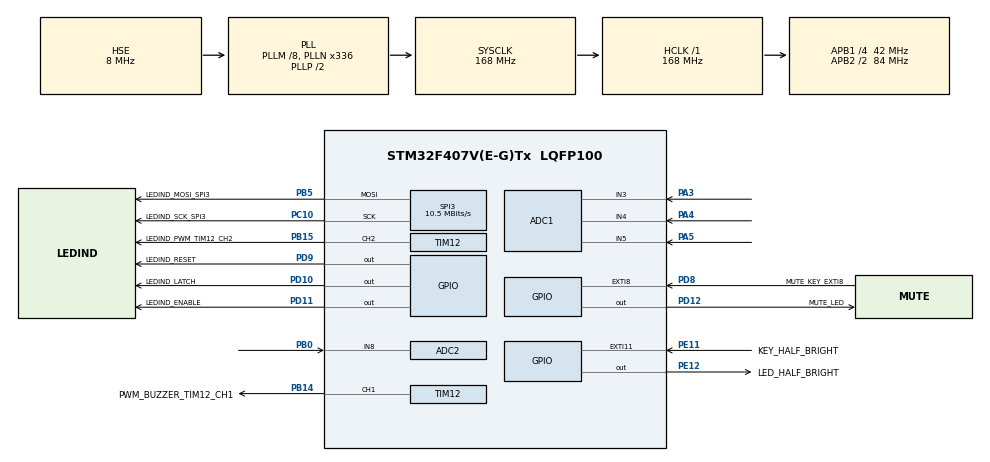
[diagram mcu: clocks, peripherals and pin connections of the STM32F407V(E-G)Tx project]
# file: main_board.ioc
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ADC1.Channel-0\#ChannelRegularConversion=ADC_CHANNEL_3
ADC1.Channel-1\#ChannelRegularConversion=ADC_CHANNEL_4
ADC1.Channel-2\#ChannelRegularConversion=ADC_CHANNEL_5
ADC1.ClockPrescaler=ADC_CLOCKPRESCALER_PCLK_DIV8
ADC1.ContinuousConvMode=ENABLE
ADC1.DMAContinuousRequests=ENABLE
ADC1.DiscontinuousConvMode=DISABLE
ADC1.NbrOfConversion=3
ADC1.NbrOfConversionFlag=1
ADC1.Rank-0\#ChannelRegularConversion=1
ADC1.Rank-1\#ChannelRegularConversion=2
ADC1.Rank-2\#ChannelRegularConversion=3
ADC1.SamplingTime-0\#ChannelRegularConversion=ADC_SAMPLETIME_56CYCLES
ADC1.SamplingTime-1\#ChannelRegularConversion=ADC_SAMPLETIME_56CYCLES
ADC1.SamplingTime-2\#ChannelRegularConversion=ADC_SAMPLETIME_56CYCLES
ADC1.ScanConvMode=ENABLE
ADC1.master=1
ADC2.Channel-0\#ChannelRegularConversion=ADC_CHANNEL_8
ADC2.ClockPrescaler=ADC_CLOCKPRESCALER_PCLK_DIV8
ADC2.ContinuousConvMode=ENABLE
ADC2.ExternalTrigConvEdge=ADC_EXTERNALTRIGCONVEDGE_NONE
ADC2.NbrOfConversion=1
ADC2.NbrOfConversionFlag=1
ADC2.ScanConvMode=ENABLE
Dma.ADC1.0.Channel=DMA_CHANNEL_0
Dma.ADC1.0.Direction=DMA_PERIPH_TO_MEMORY
Dma.ADC1.0.FIFOMode=DMA_FIFOMODE_DISABLE
Dma.ADC1.0.FIFOThreshold=DMA_FIFO_THRESHOLD_FULL
Dma.ADC1.0.Instance=DMA2_Stream0
Dma.ADC1.0.MemBurst=DMA_MBURST_SINGLE
Dma.ADC1.0.MemDataAlignment=DMA_MDATAALIGN_BYTE
Dma.ADC1.0.MemInc=DMA_MINC_DISABLE
Dma.ADC1.0.Mode=DMA_NORMAL
Dma.ADC1.0.PeriphBurst=DMA_PBURST_SINGLE
Dma.ADC1.0.PeriphDataAlignment=DMA_PDATAALIGN_BYTE
Dma.ADC1.0.PeriphInc=DMA_PINC_DISABLE
Dma.ADC1.0.Priority=DMA_PRIORITY_HIGH
Dma.Request0=ADC1
Mcu.Family=STM32F4
Mcu.Name=STM32F407V(E-G)Tx
Mcu.Package=LQFP100
NVIC.ADC_IRQn=true\:0\:0\:false
NVIC.DMA2_Stream0_IRQn=true\:0\:0\:false
NVIC.EXTI15_10_IRQn=true\:0\:0\:false
NVIC.EXTI9_5_IRQn=true\:0\:0\:false
NVIC.PriorityGroup=NVIC_PRIORITYGROUP_4
NVIC.TIM6_DAC_IRQn=true\:0\:0\:false
NVIC.TIM7_IRQn=true\:0\:0\:false
NVIC.TIM8_BRK_TIM12_IRQn=true\:0\:0\:false
NVIC.TIM8_UP_TIM13_IRQn=true\:0\:0\:false
PA13.Mode=Serial-Wire
PA13.Signal=SYS_JTMS-SWDIO
PA14.Mode=Serial-Wire
PA14.Signal=SYS_JTCK-SWCLK
PA3.Signal=ADCx_IN3
PA4.Signal=ADCx_IN4
PA5.Signal=ADCx_IN5
PB0.Signal=ADCx_IN8
PB14.GPIO_Label=PWM_BUZZER_TIM12_CH1
PB14.GPIO_ModeDefaultPP=GPIO_MODE_AF_PP
PB14.GPIO_PuPd=GPIO_NOPULL
PB14.GPIO_Speed=GPIO_SPEED_LOW
PB14.Signal=S_TIM12_CH1
PB15.GPIO_Label=LEDIND_PWM_TIM12_CH2
PB15.GPIO_ModeDefaultPP=GPIO_MODE_AF_PP
PB15.GPIO_PuPd=GPIO_NOPULL
PB15.GPIO_Speed=GPIO_SPEED_LOW
PB15.Signal=S_TIM12_CH2
PB5.GPIO_Label=LEDIND_MOSI_SPI3
PB5.GPIO_Mode=GPIO_MODE_AF_PP
PB5.GPIO_PuPd=GPIO_NOPULL
PB5.GPIO_Speed=GPIO_SPEED_HIGH
PB5.Mode=TX_Only_Simplex_Unidirect_Master
PB5.Signal=SPI3_MOSI
PC10.GPIO_Label=LEDIND_SCK_SPI3
PC10.GPIO_Mode=GPIO_MODE_AF_PP
PC10.GPIO_PuPd=GPIO_NOPULL
PC10.GPIO_Speed=GPIO_SPEED_HIGH
PC10.Mode=TX_Only_Simplex_Unidirect_Master
PC10.Signal=SPI3_SCK
PD10.GPIO_Label=LEDIND_LATCH
PD10.GPIO_ModeDefaultOutputPP=GPIO_MODE_OUTPUT_PP
PD10.GPIO_PuPd=GPIO_NOPULL
PD10.GPIO_Speed=GPIO_SPEED_LOW
PD10.Signal=GPIO_Output
PD11.GPIO_Label=LEDIND_ENABLE
PD11.GPIO_ModeDefaultOutputPP=GPIO_MODE_OUTPUT_PP
PD11.GPIO_PuPd=GPIO_NOPULL
PD11.GPIO_Speed=GPIO_SPEED_LOW
PD11.Signal=GPIO_Output
PD12.GPIO_Label=MUTE_LED
PD12.GPIO_ModeDefaultOutputPP=GPIO_MODE_OUTPUT_PP
PD12.GPIO_PuPd=GPIO_NOPULL
PD12.GPIO_Speed=GPIO_SPEED_LOW
PD12.Signal=GPIO_Output
PD8.GPIO_Label=MUTE_KEY_EXTI8
PD8.GPIO_ModeDefaultEXTI=GPIO_MODE_IT_RISING
PD8.GPIO_PuPd=GPIO_NOPULL
PD8.Signal=GPXTI8
PD9.GPIO_Label=LEDIND_RESET
PD9.GPIO_ModeDefaultOutputPP=GPIO_MODE_OUTPUT_PP
PD9.GPIO_PuPd=GPIO_NOPULL
PD9.GPIO_Speed=GPIO_SPEED_LOW
PD9.Signal=GPIO_Output
PE11.GPIO_Label=KEY_HALF_BRIGHT
PE11.GPIO_ModeDefaultEXTI=GPIO_MODE_IT_RISING
PE11.GPIO_PuPd=GPIO_NOPULL
PE11.Signal=GPXTI11
PE12.GPIO_Label=LED_HALF_BRIGHT
PE12.GPIO_ModeDefaultOutputPP=GPIO_MODE_OUTPUT_PP
PE12.GPIO_PuPd=GPIO_NOPULL
PE12.GPIO_Speed=GPIO_SPEED_LOW
PE12.Signal=GPIO_Output
PH0-OSC_IN.Mode=HSE-External-Oscillator
PH0-OSC_IN.Signal=RCC_OSC_IN
PH1-OSC_OUT.Mode=HSE-External-Oscillator
PH1-OSC_OUT.Signal=RCC_OSC_OUT
ProjectManager.TargetToolchain=EWARM
RCC.48MHZClocksFreq_Value=48000000
RCC.AHBFreq_Value=168000000
RCC.APB1CLKDivider=RCC_HCLK_DIV4
RCC.APB1Freq_Value=42000000
RCC.APB1TimFreq_Value=84000000
RCC.APB2CLKDivider=RCC_HCLK_DIV2
RCC.APB2Freq_Value=84000000
RCC.APB2TimFreq_Value=168000000
RCC.CortexFreq_Value=168000000
RCC.HCLKFreq_Value=168000000
RCC.HSE_VALUE=8000000
RCC.HSI_VALUE=16000000
RCC.LSE_VALUE=32768
RCC.PLLM=8
RCC.PLLN=336
RCC.PLLQ=7
RCC.PLLSourceVirtual=RCC_PLLSOURCE_HSE
RCC.PWR_Regulator_Voltage_Scale=PWR_REGULATOR_VOLTAGE_SCALE1
RCC.SYSCLKFreq_VALUE=168000000
RCC.SYSCLKSource=RCC_SYSCLKSOURCE_PLLCLK
RCC.VCOOutputFreq_Value=336000000
SH.ADCx_IN3.0=ADC1_IN3,IN3
SH.ADCx_IN4.0=ADC1_IN4,IN4
SH.ADCx_IN5.0=ADC1_IN5,IN5
SH.ADCx_IN8.0=ADC2_IN8,IN8
SH.S_TIM12_CH1.0=TIM12_CH1,PWM Generation1 CH1
SH.S_TIM12_CH2.0=TIM12_CH2,PWM Generation2 CH2
SPI3.BaudRatePrescaler=SPI_BAUDRATEPRESCALER_4
SPI3.CalculateBaudRate=10.5 MBits/s
SPI3.FirstBit=SPI_FIRSTBIT_LSB
SPI3.Mode=SPI_MODE_MASTER
TIM12.Channel-PWM\ Generation2\ CH2=TIM_CHANNEL_2
TIM12.ClockDivision=TIM_CLOCKDIVISION_DIV1
TIM12.Period=65535
TIM12.Prescaler=1
TIM12.Pulse-PWM\ Generation1\ CH1=30758
TIM13.Period=50000
TIM13.Prescaler=70
TIM6.Period=52500
TIM6.Prescaler=1
TIM7.Period=65115
TIM7.Prescaler=2600
VP_TIM13_VS_ClockSourceINT.Mode=Enable_Timer
VP_TIM6_VS_ClockSourceINT.Mode=Enable_Timer
VP_TIM7_VS_ClockSourceINT.Mode=Enable_Timer
board=main_board

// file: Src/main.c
/**
  ******************************************************************************
  * File Name          : main.c
  * Description        : Main program body
  ******************************************************************************
  *
  * COPYRIGHT(c) 2015 STMicroelectronics
  *
  * Redistribution and use in source and binary forms, with or without modification,
  * are permitted provided that the following conditions are met:
  *   1. Redistributions of source code must retain the above copyright notice,
  *      this list of conditions and the following disclaimer.
  *   2. Redistributions in binary form must reproduce the above copyright notice,
  *      this list of conditions and the following disclaimer in the documentation
  *      and/or other materials provided with the distribution.
  *   3. Neither the name of STMicroelectronics nor the names of its contributors
  *      may be used to endorse or promote products derived from this software
  *      without specific prior written permission.
  *
  * THIS SOFTWARE IS PROVIDED BY THE COPYRIGHT HOLDERS AND CONTRIBUTORS "AS IS"
  * AND ANY EXPRESS OR IMPLIED WARRANTIES, INCLUDING, BUT NOT LIMITED TO, THE
  * IMPLIED WARRANTIES OF MERCHANTABILITY AND FITNESS FOR A PARTICULAR PURPOSE ARE
  * DISCLAIMED. IN NO EVENT SHALL THE COPYRIGHT HOLDER OR CONTRIBUTORS BE LIABLE
  * FOR ANY DIRECT, INDIRECT, INCIDENTAL, SPECIAL, EXEMPLARY, OR CONSEQUENTIAL
  * DAMAGES (INCLUDING, BUT NOT LIMITED TO, PROCUREMENT OF SUBSTITUTE GOODS OR
  * SERVICES; LOSS OF USE, DATA, OR PROFITS; OR BUSINESS INTERRUPTION) HOWEVER
  * CAUSED AND ON ANY THEORY OF LIABILITY, WHETHER IN CONTRACT, STRICT LIABILITY,
  * OR TORT (INCLUDING NEGLIGENCE OR OTHERWISE) ARISING IN ANY WAY OUT OF THE USE
  * OF THIS SOFTWARE, EVEN IF ADVISED OF THE POSSIBILITY OF SUCH DAMAGE.
  *
  ******************************************************************************
  */
#include "stm32f4xx_hal.h"

/* USER CODE BEGIN Includes */
#define ARM_MATH_CM4
#include "math.h"
#define PORT_RESET ((GPIO_TypeDef *) GPIOD)
#define PORT_ENABLE ((GPIO_TypeDef *) GPIOD)
#define PORT_LATCH ((GPIO_TypeDef *) GPIOD)
#define PIN_RESET  ((uint16_t) GPIO_PIN_9)
#define PIN_ENABLE  ((uint16_t) GPIO_PIN_11)
#define PIN_LATCH  ((uint16_t) GPIO_PIN_10)
/* USER CODE END Includes */

ADC_HandleTypeDef hadc1;
ADC_HandleTypeDef hadc2;
DMA_HandleTypeDef hdma_adc1;

SPI_HandleTypeDef hspi3;

TIM_HandleTypeDef htim6;
TIM_HandleTypeDef htim7;
TIM_HandleTypeDef htim12;
TIM_HandleTypeDef htim13;

/* USER CODE BEGIN PV */
/* Private variables ---------------------------------------------------------*/
typedef enum {
  D0 = 0xFC0,
  D1 = 0x600,
  D2 = 0xDA0,
  D3 = 0xF20,
  D4 = 0x660,
  D5 = 0xB60,
  D6 = 0xBE0,
  D7 = 0xE00,
  D8 = 0xFE0,
  D9 = 0xF60,
  D10 = 0xC60,
} DIGITS;
typedef enum {
  K1 = 0x8,
  K2 = 0x4,
  K3 = 0x2,
  K4 = 0x1,
} KATODS;
typedef enum {
  ON,
  OFF
} state_t;
uint8_t sensivity_light = 4;
state_t mute_state = OFF;
state_t buzzer_state = OFF;
uint8_t buzzer_done = 0;
uint8_t timer_buzzer = 0;
uint8_t timer_flag = 0;
uint8_t pData[3];
int tim = 0;
int spi = 0;
uint8_t hour = 0;
uint16_t angle = 0;
uint16_t old_angle = 0;
DIGITS digits [11] = {D0,D1,D2,D3,D4,D5,D6,D7,D8,D9,D10};
KATODS digits_k [4] = {K1,K2,K3,K4};
int flag_zerro = 0;
uint8_t shift = 0;
char reset = 0;
/* USER CODE END PV */

void SystemClock_Config(void);
static void MX_GPIO_Init(void);
static void MX_DMA_Init(void);
static void MX_ADC1_Init(void);
static void MX_ADC2_Init(void);
static void MX_SPI3_Init(void);
static void MX_TIM6_Init(void);
static void MX_TIM7_Init(void);
static void MX_TIM12_Init(void);
static void MX_TIM13_Init(void);

/* USER CODE BEGIN PFP */
/* Private function prototypes -----------------------------------------------*/
void reset_led()
{
  old_angle = 0;
  pData[2] &= 0;
  pData[1] &= 0;
  pData[0] &= 0;
}
int pow_digit(uint8_t base,uint8_t degree)
{
  int pow = 1;
  for (int i = 1; i <= degree; i++)
    pow *= base;
  return pow;
}
void shift_katode()
{
  pData[0] |= digits_k[shift];
  shift ++;
  if (shift > 3)
  {
    angle = old_angle ;
    shift = 0;
    flag_zerro = 0;
  }
}
void send_Data(SPI_HandleTypeDef *hspi)
{
  HAL_GPIO_WritePin(PORT_ENABLE, PIN_ENABLE,GPIO_PIN_SET);
  HAL_SPI_Transmit(hspi, pData, 3, 1);
  HAL_GPIO_WritePin(PORT_LATCH, PIN_LATCH,GPIO_PIN_SET);
  HAL_GPIO_WritePin(PORT_LATCH, PIN_LATCH,GPIO_PIN_RESET);
  HAL_GPIO_WritePin(PORT_ENABLE, PIN_ENABLE,GPIO_PIN_RESET);
 }
void make_digits_reset(uint8_t right, uint8_t left)
{
  pData[1] &= left;
  pData[0] &= right;
}
void make_digits(uint8_t right, uint8_t left)
{
  pData[1] |= left;
  pData[0] |= right;
}
void buzzer (uint8_t hour)
{
  if (buzzer_state == OFF && buzzer_done != 1)
  {
  buzzer_state = ON;
  timer_buzzer = hour;
  HAL_TIM_Base_Start_IT(&htim13);
  }
  else
  {
  __NOP();
  }
}
void hour_to_led (uint8_t hour, state_t mute)
{
  if (mute == OFF)
  {
    buzzer(hour);
  }
  uint8_t base_hour = 0x80; // 10000000 - 1hour
  uint8_t shift = 0;
  if (hour <= 8)
  {
    shift = base_hour >> hour-1;
    pData[2] = pData[2] | shift;
  }
  else if (8 < hour <= 12)
  {
    shift = base_hour >> hour - 9;
    pData[1] = pData[1] | shift;
  }
}

void angle_to_indicator (uint8_t shift)
{

  uint16_t base_digits = 0xF000;
  uint8_t digits_right = base_digits;
  uint8_t digits_left = base_digits >> 8;
  make_digits_reset (digits_right, digits_left);
  if (shift < 3 )
  {
    uint16_t digit_num[3];
    int pow = pow_digit(10,shift);
    digit_num[shift] = angle / (100 / pow);
    if (digit_num[shift] == 0 && shift == 0)
    {
      flag_zerro = 1;
      make_digits (0, 0);
    }
    else if(digit_num[shift] == 0 && flag_zerro == 1)
    {
      make_digits (0, 0);
    }
    else
    {
      flag_zerro = 0;
      angle -= digit_num[shift] * (100 / pow);
      digit_num[shift] = digits[digit_num[shift]];
      digits_right = digit_num[shift];
      digits_left = digit_num[shift] >> 8;
      make_digits (digits_right, digits_left);
    }

  }
  else if (shift == 3 && old_angle != 0)
  {
    digits_right = digits[10];
    digits_left = digits[10] >> 8;
    make_digits (digits_right, digits_left);
  }
}
/* USER CODE END PFP */

int main(void)
{

  /* MCU Configuration----------------------------------------------------------*/

  /* Reset of all peripherals, Initializes the Flash interface and the Systick. */
  HAL_Init();

  /* Configure the system clock */
  SystemClock_Config();

  /* Initialize all configured peripherals */
  MX_GPIO_Init();
  MX_DMA_Init();
  MX_ADC1_Init();
  MX_ADC2_Init();
  MX_SPI3_Init();
  MX_TIM6_Init();
  MX_TIM7_Init();
  MX_TIM12_Init();
  MX_TIM13_Init();

  /* USER CODE BEGIN 2 */
HAL_GPIO_WritePin(PORT_RESET, PIN_RESET,GPIO_PIN_SET);
HAL_GPIO_WritePin(GPIOD, GPIO_PIN_9,GPIO_PIN_SET);
angle = old_angle ;
HAL_TIM_PWM_Start_IT(&htim12,TIM_CHANNEL_2);

HAL_TIM_Base_Start_IT(&htim6);
HAL_TIM_Base_Start_IT(&htim7);

  /* USER CODE END 2 */

  /* Infinite loop */
  while (1)
  {

  /* USER CODE BEGIN 3 */
HAL_ADC_Start_IT(&hadc2);
  }
  /* USER CODE END 3 */

}

/** System Clock Configuration
*/
void SystemClock_Config(void)
{

  RCC_OscInitTypeDef RCC_OscInitStruct;
  RCC_ClkInitTypeDef RCC_ClkInitStruct;

  __PWR_CLK_ENABLE();

  __HAL_PWR_VOLTAGESCALING_CONFIG(PWR_REGULATOR_VOLTAGE_SCALE1);

  RCC_OscInitStruct.OscillatorType = RCC_OSCILLATORTYPE_HSE;
  RCC_OscInitStruct.HSEState = RCC_HSE_ON;
  RCC_OscInitStruct.PLL.PLLState = RCC_PLL_ON;
  RCC_OscInitStruct.PLL.PLLSource = RCC_PLLSOURCE_HSE;
  RCC_OscInitStruct.PLL.PLLM = 8;
  RCC_OscInitStruct.PLL.PLLN = 336;
  RCC_OscInitStruct.PLL.PLLP = RCC_PLLP_DIV2;
  RCC_OscInitStruct.PLL.PLLQ = 7;
  HAL_RCC_OscConfig(&RCC_OscInitStruct);

  RCC_ClkInitStruct.ClockType = RCC_CLOCKTYPE_SYSCLK|RCC_CLOCKTYPE_PCLK1
                              |RCC_CLOCKTYPE_PCLK2;
  RCC_ClkInitStruct.SYSCLKSource = RCC_SYSCLKSOURCE_PLLCLK;
  RCC_ClkInitStruct.AHBCLKDivider = RCC_SYSCLK_DIV1;
  RCC_ClkInitStruct.APB1CLKDivider = RCC_HCLK_DIV4;
  RCC_ClkInitStruct.APB2CLKDivider = RCC_HCLK_DIV2;
  HAL_RCC_ClockConfig(&RCC_ClkInitStruct, FLASH_LATENCY_5);

  HAL_SYSTICK_Config(HAL_RCC_GetHCLKFreq()/1000);

  HAL_SYSTICK_CLKSourceConfig(SYSTICK_CLKSOURCE_HCLK);

}

/* ADC1 init function */
void MX_ADC1_Init(void)
{

  ADC_ChannelConfTypeDef sConfig;

    /**Configure the global features of the ADC (Clock, Resolution, Data Alignment and number of conversion)
    */
  hadc1.Instance = ADC1;
  hadc1.Init.ClockPrescaler = ADC_CLOCKPRESCALER_PCLK_DIV8;
  hadc1.Init.Resolution = ADC_RESOLUTION12b;
  hadc1.Init.ScanConvMode = ENABLE;
  hadc1.Init.ContinuousConvMode = ENABLE;
  hadc1.Init.DiscontinuousConvMode = DISABLE;
  hadc1.Init.ExternalTrigConvEdge = ADC_EXTERNALTRIGCONVEDGE_NONE;
  hadc1.Init.DataAlign = ADC_DATAALIGN_RIGHT;
  hadc1.Init.NbrOfConversion = 3;
  hadc1.Init.DMAContinuousRequests = ENABLE;
  hadc1.Init.EOCSelection = EOC_SINGLE_CONV;
  HAL_ADC_Init(&hadc1);

    /**Configure for the selected ADC regular channel its corresponding rank in the sequencer and its sample time.
    */
  sConfig.Channel = ADC_CHANNEL_3;
  sConfig.Rank = 1;
  sConfig.SamplingTime = ADC_SAMPLETIME_56CYCLES;
  HAL_ADC_ConfigChannel(&hadc1, &sConfig);

    /**Configure for the selected ADC regular channel its corresponding rank in the sequencer and its sample time.
    */
  sConfig.Channel = ADC_CHANNEL_4;
  sConfig.Rank = 2;
  HAL_ADC_ConfigChannel(&hadc1, &sConfig);

    /**Configure for the selected ADC regular channel its corresponding rank in the sequencer and its sample time.
    */
  sConfig.Channel = ADC_CHANNEL_5;
  sConfig.Rank = 3;
  HAL_ADC_ConfigChannel(&hadc1, &sConfig);

}

/* ADC2 init function */
void MX_ADC2_Init(void)
{

  ADC_ChannelConfTypeDef sConfig;

    /**Configure the global features of the ADC (Clock, Resolution, Data Alignment and number of conversion)
    */
  hadc2.Instance = ADC2;
  hadc2.Init.ClockPrescaler = ADC_CLOCKPRESCALER_PCLK_DIV8;
  hadc2.Init.Resolution = ADC_RESOLUTION12b;
  hadc2.Init.ScanConvMode = ENABLE;
  hadc2.Init.ContinuousConvMode = ENABLE;
  hadc2.Init.DiscontinuousConvMode = DISABLE;
  hadc2.Init.ExternalTrigConvEdge = ADC_EXTERNALTRIGCONVEDGE_NONE;
  hadc2.Init.DataAlign = ADC_DATAALIGN_RIGHT;
  hadc2.Init.NbrOfConversion = 1;
  hadc2.Init.DMAContinuousRequests = DISABLE;
  hadc2.Init.EOCSelection = EOC_SINGLE_CONV;
  HAL_ADC_Init(&hadc2);

    /**Configure for the selected ADC regular channel its corresponding rank in the sequencer and its sample time.
    */
  sConfig.Channel = ADC_CHANNEL_8;
  sConfig.Rank = 1;
  sConfig.SamplingTime = ADC_SAMPLETIME_3CYCLES;
  HAL_ADC_ConfigChannel(&hadc2, &sConfig);

}

/* SPI3 init function */
void MX_SPI3_Init(void)
{

  hspi3.Instance = SPI3;
  hspi3.Init.Mode = SPI_MODE_MASTER;
  hspi3.Init.Direction = SPI_DIRECTION_2LINES;
  hspi3.Init.DataSize = SPI_DATASIZE_8BIT;
  hspi3.Init.CLKPolarity = SPI_POLARITY_LOW;
  hspi3.Init.CLKPhase = SPI_PHASE_1EDGE;
  hspi3.Init.NSS = SPI_NSS_SOFT;
  hspi3.Init.BaudRatePrescaler = SPI_BAUDRATEPRESCALER_4;
  hspi3.Init.FirstBit = SPI_FIRSTBIT_LSB;
  hspi3.Init.TIMode = SPI_TIMODE_DISABLED;
  hspi3.Init.CRCCalculation = SPI_CRCCALCULATION_DISABLED;
  hspi3.Init.CRCPolynomial = 10;
  HAL_SPI_Init(&hspi3);

}

/* TIM6 init function */
void MX_TIM6_Init(void)
{

  TIM_MasterConfigTypeDef sMasterConfig;

  htim6.Instance = TIM6;
  htim6.Init.Prescaler = 1;
  htim6.Init.CounterMode = TIM_COUNTERMODE_UP;
  htim6.Init.Period = 52500;
  HAL_TIM_Base_Init(&htim6);

  sMasterConfig.MasterOutputTrigger = TIM_TRGO_RESET;
  sMasterConfig.MasterSlaveMode = TIM_MASTERSLAVEMODE_DISABLE;
  HAL_TIMEx_MasterConfigSynchronization(&htim6, &sMasterConfig);

}

/* TIM7 init function */
void MX_TIM7_Init(void)
{

  TIM_MasterConfigTypeDef sMasterConfig;

  htim7.Instance = TIM7;
  htim7.Init.Prescaler = 2600;
  htim7.Init.CounterMode = TIM_COUNTERMODE_UP;
  htim7.Init.Period = 65115;
  HAL_TIM_Base_Init(&htim7);

  sMasterConfig.MasterOutputTrigger = TIM_TRGO_RESET;
  sMasterConfig.MasterSlaveMode = TIM_MASTERSLAVEMODE_DISABLE;
  HAL_TIMEx_MasterConfigSynchronization(&htim7, &sMasterConfig);

}

/* TIM12 init function */
void MX_TIM12_Init(void)
{

  TIM_OC_InitTypeDef sConfigOC;

  htim12.Instance = TIM12;
  htim12.Init.Prescaler = 1;
  htim12.Init.CounterMode = TIM_COUNTERMODE_UP;
  htim12.Init.Period = 65535;
  htim12.Init.ClockDivision = TIM_CLOCKDIVISION_DIV1;
  HAL_TIM_PWM_Init(&htim12);

  sConfigOC.OCMode = TIM_OCMODE_PWM1;
  sConfigOC.Pulse = 30758;
  sConfigOC.OCPolarity = TIM_OCPOLARITY_HIGH;
  sConfigOC.OCFastMode = TIM_OCFAST_DISABLE;
  HAL_TIM_PWM_ConfigChannel(&htim12, &sConfigOC, TIM_CHANNEL_1);

  sConfigOC.Pulse = 0;
  HAL_TIM_PWM_ConfigChannel(&htim12, &sConfigOC, TIM_CHANNEL_2);

}

/* TIM13 init function */
void MX_TIM13_Init(void)
{

  htim13.Instance = TIM13;
  htim13.Init.Prescaler = 70;
  htim13.Init.CounterMode = TIM_COUNTERMODE_UP;
  htim13.Init.Period = 50000;
  htim13.Init.ClockDivision = TIM_CLOCKDIVISION_DIV1;
  HAL_TIM_Base_Init(&htim13);

}

void MX_DMA_Init(void)
{
  /* DMA controller clock enable */
  __DMA2_CLK_ENABLE();

  /* DMA interrupt init */
  HAL_NVIC_SetPriority(DMA2_Stream0_IRQn, 0, 0);
  HAL_NVIC_EnableIRQ(DMA2_Stream0_IRQn);

}

/** Configure pins as
        * Analog
        * Input
        * Output
        * EVENT_OUT
        * EXTI
*/
void MX_GPIO_Init(void)
{

  GPIO_InitTypeDef GPIO_InitStruct;

  /* GPIO Ports Clock Enable */
  __GPIOH_CLK_ENABLE();
  __GPIOA_CLK_ENABLE();
  __GPIOB_CLK_ENABLE();
  __GPIOE_CLK_ENABLE();
  __GPIOD_CLK_ENABLE();
  __GPIOC_CLK_ENABLE();

  /*Configure GPIO pin : PE11 */
  GPIO_InitStruct.Pin = GPIO_PIN_11;
  GPIO_InitStruct.Mode = GPIO_MODE_IT_RISING;
  GPIO_InitStruct.Pull = GPIO_NOPULL;
  HAL_GPIO_Init(GPIOE, &GPIO_InitStruct);

  /*Configure GPIO pin : PE12 */
  GPIO_InitStruct.Pin = GPIO_PIN_12;
  GPIO_InitStruct.Mode = GPIO_MODE_OUTPUT_PP;
  GPIO_InitStruct.Pull = GPIO_NOPULL;
  GPIO_InitStruct.Speed = GPIO_SPEED_LOW;
  HAL_GPIO_Init(GPIOE, &GPIO_InitStruct);

  /*Configure GPIO pin : PD8 */
  GPIO_InitStruct.Pin = GPIO_PIN_8;
  GPIO_InitStruct.Mode = GPIO_MODE_IT_RISING;
  GPIO_InitStruct.Pull = GPIO_NOPULL;
  HAL_GPIO_Init(GPIOD, &GPIO_InitStruct);

  /*Configure GPIO pins : PD9 PD10 PD11 PD12 */
  GPIO_InitStruct.Pin = GPIO_PIN_9|GPIO_PIN_10|GPIO_PIN_11|GPIO_PIN_12;
  GPIO_InitStruct.Mode = GPIO_MODE_OUTPUT_PP;
  GPIO_InitStruct.Pull = GPIO_NOPULL;
  GPIO_InitStruct.Speed = GPIO_SPEED_LOW;
  HAL_GPIO_Init(GPIOD, &GPIO_InitStruct);

  /* EXTI interrupt init*/
  HAL_NVIC_SetPriority(EXTI9_5_IRQn, 0, 0);
  HAL_NVIC_EnableIRQ(EXTI9_5_IRQn);

  HAL_NVIC_SetPriority(EXTI15_10_IRQn, 0, 0);
  HAL_NVIC_EnableIRQ(EXTI15_10_IRQn);

}

/* USER CODE BEGIN 4 */
void HAL_SPI_TxCpltCallback(SPI_HandleTypeDef *hspi)
{
  //HAL_GPIO_WritePin(PORT_LATCH, PIN_LATCH,GPIO_PIN_SET);
 // HAL_GPIO_WritePin(PORT_LATCH, PIN_LATCH,GPIO_PIN_RESET);
 // HAL_GPIO_WritePin(PORT_ENABLE, PIN_ENABLE,GPIO_PIN_RESET);
//spi++;
}
void HAL_TIM_PeriodElapsedCallback(TIM_HandleTypeDef *htim)
{
  if (htim == &htim6)
  {
    angle_to_indicator(shift);
    hour_to_led(hour, mute_state);

    shift_katode();
    send_Data(&hspi3);
    tim++;
    if (tim == 1000 && reset == 1)
    {
      reset = 0;
      hour = 0;
      old_angle = 0;
      shift = 0;
      angle_to_indicator(shift);
      hour_to_led(hour, mute_state);
      tim = 0;
    }
    else if (tim == 1000)
    {
      tim = 0;
    }
  }
  if (htim == &htim7)
    {
      hour += 1;
      buzzer_done =0;
      old_angle += 30;
      if (hour > 12)
      {
        reset_led();
        hour = 0;
        old_angle = 0;
      }
    }
  if (htim == &htim13)
  {
  switch (buzzer_state)
  {
    case OFF:
      break;
    case ON:
    if (timer_buzzer != 0 && timer_buzzer <= 12)
    {
      if(timer_flag == 1)
      {
        HAL_TIM_PWM_Start(&htim12,TIM_CHANNEL_1);
        timer_flag = 0;
      }
      else
      {
        HAL_TIM_PWM_Stop(&htim12,TIM_CHANNEL_1);
        timer_flag = 1;
        timer_buzzer -- ;
      }
    }
    else
    {
      buzzer_state = OFF;
      buzzer_done = 1;
    }
    break;
  }
  }

}
void HAL_GPIO_EXTI_Callback(uint16_t GPIO_Pin)
{
  if (GPIO_Pin == GPIO_PIN_11)
  {
    if (sensivity_light == 4)
    {
    HAL_GPIO_WritePin(GPIOE, GPIO_PIN_12, GPIO_PIN_SET);
    sensivity_light*=3;
    }
    else
    {
    HAL_GPIO_WritePin(GPIOE, GPIO_PIN_12, GPIO_PIN_RESET);
    sensivity_light/=3;
    }
  }
  else if (GPIO_Pin == GPIO_PIN_8)
  {
    if (mute_state == OFF)
    {
    mute_state = ON;
    HAL_GPIO_WritePin(GPIOD, GPIO_PIN_12, GPIO_PIN_SET);
    }
    else if(mute_state == ON)
    {
    mute_state = OFF;
    HAL_GPIO_WritePin(GPIOD, GPIO_PIN_12, GPIO_PIN_RESET);
    }
  }
}
void HAL_ADC_ConvCpltCallback(ADC_HandleTypeDef* hadc)
{
uint32_t light_value;
light_value = HAL_ADC_GetValue(hadc);
uint32_t ligt_sensivity = light_value*sensivity_light;
htim12.Instance->CCR2 = ligt_sensivity;
}

/* USER CODE END 4 */

/************************ (C) COPYRIGHT STMicroelectronics *****END OF FILE****/
